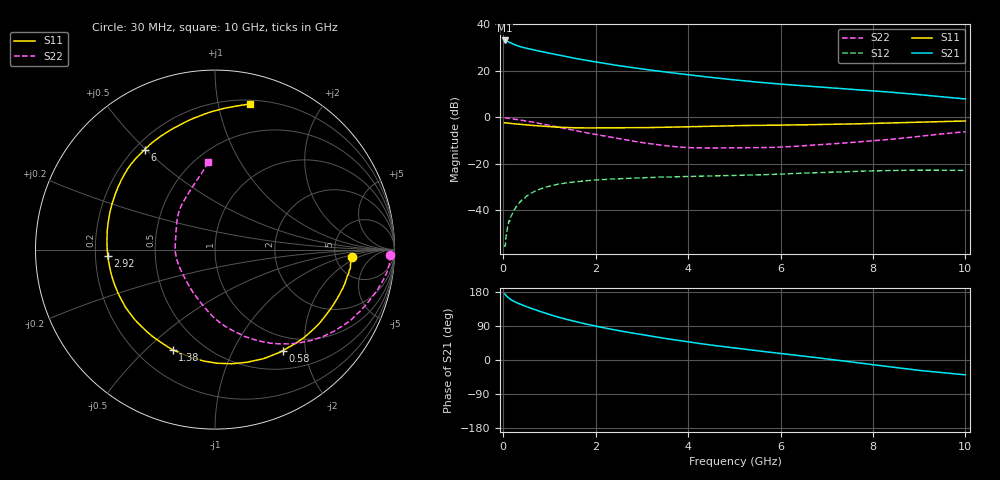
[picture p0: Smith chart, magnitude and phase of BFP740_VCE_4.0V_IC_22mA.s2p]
! Infineon Technologies  Discrete & RF Semiconductors
! BFP740
! VCE =  4.0 V,  IC =  22 mA
! Common Emitter S-Parameters:  Jan 2016
# GHz  S  MA  R  50
!  f  S11  S21  S12  S22
! GHz  MAG  ANG  MAG  ANG  MAG  ANG  MAG  ANG
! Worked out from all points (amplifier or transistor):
!   229 points, 30 MHz to 10 GHz, reference 50 ohm
!   highest |S21| = 33.1 dB at 30 MHz (marker M1)
!   |S21| within 3 dB of that: start of sweep to 431.3 MHz
!   unconditionally stable (mu >= 1): 6.527 GHz to end of sweep
!   at 280 MHz: K = 0.28, MSG = 34.7 dB, |S12| = -38.5 dB
!   at 1.78 GHz: K = 0.45, MSG = 25.9 dB, |S12| = -27.3 dB
!   at 10 GHz: K = 1.01, MAG = 14.8 dB, |S12| = -22.8 dB
!   S11 on the Smith chart (normalised r, x): 30 MHz: 7.12, -1.45; 580 MHz: 0.77, -1.60; 1.38 GHz: 0.35, -0.61; 2.92 GHz: 0.25, -0.03; 6 GHz: 0.24, +0.50; 10 GHz: 0.23, +1.24
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0.03  0.7624 -3.2  45.04 174.5  0.0018 64.7  0.9762 -1.7
0.05  0.7599 -5.7  44.61 171.9  0.0019 59.5  0.9744 -3.6
0.08  0.7559 -9.0  43.38 167.8  0.0037 78.1  0.9705 -5.9
0.12  0.7489 -13.4  41.62 163.4  0.0056 76.4  0.9591 -8.8
0.2  0.7341 -21.6  38.19 156.7  0.0085 78.2  0.9324 -13.9
0.28  0.7201 -29.2  35.45 151.8  0.0119 73.9  0.9056 -18.3
0.34  0.7125 -34.7  33.79 148.7  0.0142 69.9  0.8876 -21.5
0.58  0.6778 -56.1  29.38 137.4  0.0226 62.0  0.8105 -33.4
0.8  0.6525 -74.2  26.35 127.9  0.0288 54.5  0.738 -43.3
1  0.6333 -88.9  23.91 120.0  0.0332 48.4  0.6714 -51.5
1.2  0.6159 -102.1  21.75 112.8  0.0368 43.5  0.6111 -58.7
1.38  0.6051 -112.9  20.04 106.9  0.0391 39.5  0.5627 -64.6
1.7  0.5941 -129.7  17.49 97.4  0.0425 34.2  0.4872 -74.0
2.2  0.5919 -151.7  14.41 84.3  0.0464 27.1  0.3953 -88.2
2.92  0.5987 -176.4  11.29 68.4  0.0499 20.9  0.2957 -107.7
3.4  0.6096 170.0  9.756 58.9  0.052 17.3  0.2538 -123.2
4.2  0.6358 151.1  7.812 44.4  0.0543 12.8  0.2215 -151.6
5.1  0.6645 135.9  6.255 30.1  0.0567 9.1  0.2216 -177.5
6  0.6809 125.1  5.194 17.3  0.0602 6.5  0.2295 162.3
6.8  0.7 115.8  4.531 5.9  0.0647 2.7  0.2553 147.0
8.4  0.7603 93.7  3.467 -18.5  0.0721 -7.8  0.3378 117.7
10  0.8346 76.4  2.487 -39.1  0.0726 -17.2  0.4912 94.4
